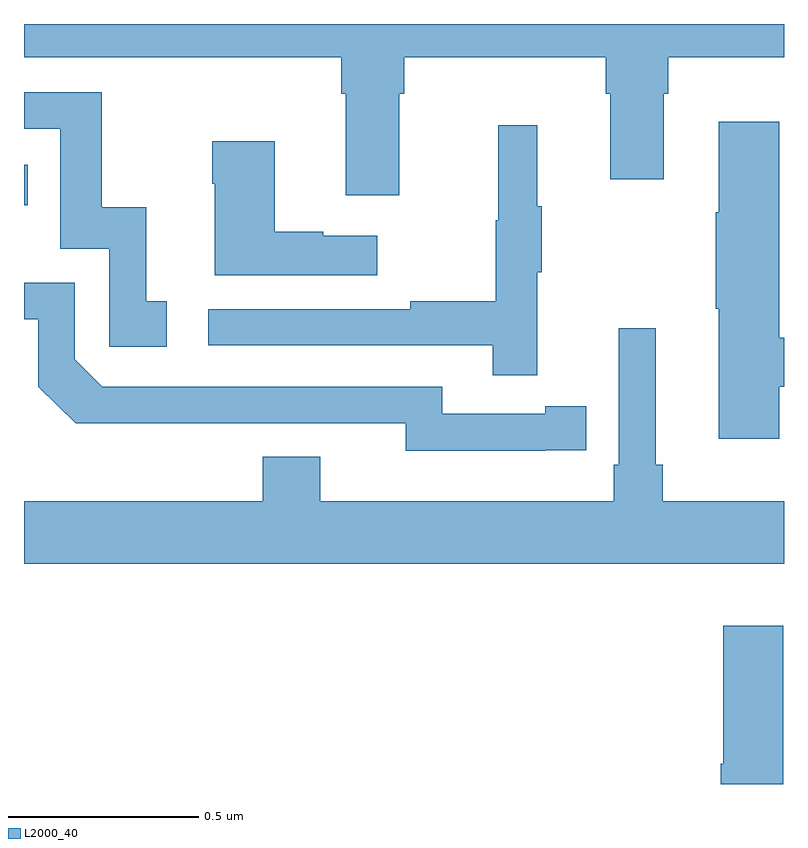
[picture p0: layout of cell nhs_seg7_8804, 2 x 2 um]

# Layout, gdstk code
import gdstk
lib = gdstk.Library(unit=1e-6, precision=1e-09)
def R(c, l, rs):  # rectangles x0, y0, x1, y1
    for r in rs: c.add(gdstk.rectangle(r[:2], r[2:], *l))
def P(c, l, *ps):  # polygons
    for p in ps: c.add(gdstk.Polygon(p, *l))
L2000_40 = (2000, 40)

nhs_seg7_8804 = lib.new_cell('nhs_seg7_8804')
R(nhs_seg7_8804, L2000_40, [(229,1037.523,229.01,1037.629)])
P(nhs_seg7_8804, L2000_40, [(229.987,1037.816),(230,1037.816),(230,1037.912),(230.531,1037.912),(230.531,1037.816),(230.543,1037.816),(230.543,1037.592),(230.683,1037.592),(230.683,1037.816),(230.696,1037.816),(230.696,1037.912),(231,1037.912),(231,1038),(229,1038),(229,1037.912),(229.835,1037.912),(229.835,1037.816),(229.847,1037.816),(229.847,1037.55),(229.987,1037.55)],
  [(229.375,1037.271),(229.322,1037.271),(229.322,1037.518),(229.204,1037.518),(229.204,1037.82),(229,1037.82),(229,1037.724),(229.095,1037.724),(229.095,1037.409),(229.224,1037.409),(229.224,1037.151),(229.375,1037.151)],
  [(230.987,1037.046),(231,1037.046),(231,1037.174),(230.987,1037.174),(230.987,1037.743),(230.828,1037.743),(230.828,1037.504),(230.821,1037.504),(230.821,1037.251),(230.828,1037.251),(230.828,1036.908),(230.987,1036.908)],
  [(230.351,1037.347),(230.362,1037.347),(230.362,1037.521),(230.351,1037.521),(230.351,1037.734),(230.248,1037.734),(230.248,1037.484),(230.241,1037.484),(230.241,1037.27),(230.017,1037.27),(230.017,1037.25),(229.485,1037.25),(229.485,1037.154),(230.233,1037.154),(230.233,1037.076),(230.351,1037.076)],
  [(229.93,1037.443),(229.787,1037.443),(229.787,1037.453),(229.66,1037.453),(229.66,1037.692),(229.495,1037.692),(229.495,1037.579),(229.502,1037.579),(229.502,1037.339),(229.93,1037.339)],
  [(230.372,1036.878),(230.48,1036.878),(230.48,1036.994),(230.372,1036.994),(230.372,1036.974),(230.1,1036.974),(230.1,1037.046),(229.206,1037.046),(229.134,1037.118),(229.134,1037.319),(229,1037.319),(229,1037.223),(229.038,1037.223),(229.038,1037.046),(229.136,1036.949),(229.544,1036.949),(229.544,1036.95),(230.004,1036.95),(230.004,1036.877),(230.372,1036.877)],
  [(231,1036.744),(230.681,1036.744),(230.681,1036.84),(230.662,1036.84),(230.662,1037.2),(230.565,1037.2),(230.565,1036.84),(230.552,1036.84),(230.552,1036.744),(229.78,1036.744),(229.78,1036.861),(229.628,1036.861),(229.628,1036.744),(229,1036.744),(229,1036.58),(231,1036.58)],
  [(230.998,1036.417),(230.84,1036.417),(230.84,1036.053),(230.834,1036.053),(230.834,1036),(230.998,1036)])

lib.write_gds('nhs_seg7_8804.gds')
